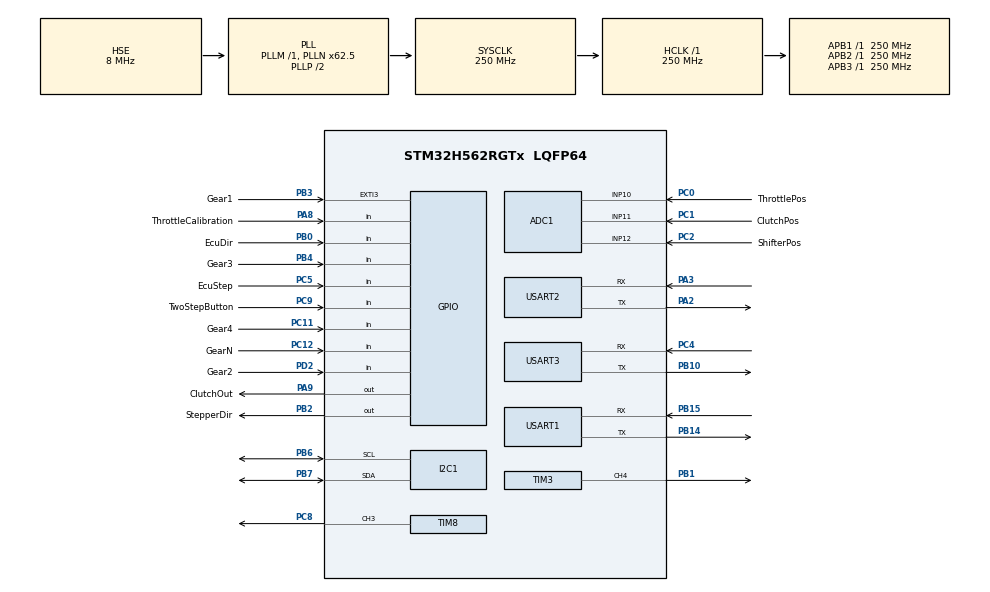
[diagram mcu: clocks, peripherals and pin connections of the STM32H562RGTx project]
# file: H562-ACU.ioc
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ADC1.Channel-1\#ChannelRegularConversion=ADC_CHANNEL_10
ADC1.Channel-2\#ChannelRegularConversion=ADC_CHANNEL_11
ADC1.Channel-3\#ChannelRegularConversion=ADC_CHANNEL_12
ADC1.ContinuousConvMode=DISABLE
ADC1.DMAContinuousRequests=DISABLE
ADC1.DiscontinuousConvMode=ENABLE
ADC1.EOCSelection=ADC_EOC_SINGLE_CONV
ADC1.ExternalTrigConv=ADC_EXTERNALTRIG_T4_TRGO
ADC1.MonitoredBy-1\#ChannelRegularConversion=__NULL
ADC1.MonitoredBy-2\#ChannelRegularConversion=__NULL
ADC1.MonitoredBy-3\#ChannelRegularConversion=__NULL
ADC1.NbrOfConversion=3
ADC1.NbrOfConversionFlag=1
ADC1.NbrOfDiscConversion=3
ADC1.OffsetNumber-1\#ChannelRegularConversion=ADC_OFFSET_NONE
ADC1.OffsetNumber-2\#ChannelRegularConversion=ADC_OFFSET_NONE
ADC1.OffsetNumber-3\#ChannelRegularConversion=ADC_OFFSET_NONE
ADC1.Overrun=ADC_OVR_DATA_PRESERVED
ADC1.Rank-1\#ChannelRegularConversion=1
ADC1.Rank-2\#ChannelRegularConversion=2
ADC1.Rank-3\#ChannelRegularConversion=3
ADC1.SamplingTime-1\#ChannelRegularConversion=ADC_SAMPLETIME_640CYCLES_5
ADC1.SamplingTime-2\#ChannelRegularConversion=ADC_SAMPLETIME_640CYCLES_5
ADC1.SamplingTime-3\#ChannelRegularConversion=ADC_SAMPLETIME_640CYCLES_5
ADC1.master=1
BOOTPATH.BootPathName=LEGACY
BOOTPATH.UserSelectedBootPath=LEGACY
CORTEX_M33_NS.AllocateAttribute0=MPU_NO_ALLOCATE
CORTEX_M33_NS.Attributes0=MPU_ATTRIBUTES_NUMBER0
CORTEX_M33_NS.Attributes1=MPU_ATTRIBUTES_NUMBER1
CORTEX_M33_NS.AttributesIndex-Cortex_Memory_Protection_Unit_RegionCortex_Memory_Protection_Unit_Region0_Settings_Settings=MPU_ATTRIBUTES_NUMBER1
CORTEX_M33_NS.AttributesIndex-Cortex_Memory_Protection_Unit_RegionCortex_Memory_Protection_Unit_Region1_Settings_Settings=MPU_ATTRIBUTES_NUMBER0
CORTEX_M33_NS.AttributesIndex-Cortex_Memory_Protection_Unit_RegionCortex_Memory_Protection_Unit_Region3_Settings_Settings=MPU_ATTRIBUTES_NUMBER0
CORTEX_M33_NS.CacheableAttribute-Cortex_Memory_Protection_Unit_Region0_Settings=MPU_NOT_CACHEABLE
CORTEX_M33_NS.CacheableAttribute0=MPU_WRITE_THROUGH
CORTEX_M33_NS.Enable-Cortex_Memory_Protection_Unit_Region0_Settings=MPU_REGION_ENABLE
CORTEX_M33_NS.Enable-Cortex_Memory_Protection_Unit_Region1_Settings=__NULL
CORTEX_M33_NS.Enable-Cortex_Memory_Protection_Unit_Region3_Settings=__NULL
CORTEX_M33_NS.MPU_Control=__NULL
CORTEX_M33_NS.Memorytype0=MPU_CACHEABLE
CORTEX_M33_NS.Memorytype1=MPU_NOT_CACHEABLE
CORTEX_M33_NS.TransientAttribute0=MPU_TRANSIENT
CORTEX_M33_NS.userName=CORTEX_M33
GPDMA1.CIRCULARMODE_GPDMACH2=DISABLE
GPDMA1.DESTDATAWIDTH_GPDMACH2=DMA_DEST_DATAWIDTH_HALFWORD
GPDMA1.DESTINC_GPDMACH0=DMA_DINC_INCREMENTED
GPDMA1.DESTINC_GPDMACH2=DMA_DINC_INCREMENTED
GPDMA1.DESTINC_GPDMACH3=DMA_DINC_INCREMENTED
GPDMA1.DESTINC_GPDMACH4=DMA_DINC_INCREMENTED
GPDMA1.DIRECTION_GPDMACH1=DMA_MEMORY_TO_PERIPH
GPDMA1.DIRECTION_GPDMACH5=DMA_MEMORY_TO_PERIPH
GPDMA1.IPHANDLE_GPDMACH0-SIMPLEREQUEST_GPDMACH0=__NULL
GPDMA1.IPHANDLE_GPDMACH1-SIMPLEREQUEST_GPDMACH1=__NULL
GPDMA1.IPHANDLE_GPDMACH2-SIMPLEREQUEST_GPDMACH2=__NULL
GPDMA1.IPHANDLE_GPDMACH3-SIMPLEREQUEST_GPDMACH3=__NULL
GPDMA1.IPHANDLE_GPDMACH4-SIMPLEREQUEST_GPDMACH4=__NULL
GPDMA1.IPHANDLE_GPDMACH5-SIMPLEREQUEST_GPDMACH5=__NULL
GPDMA1.LINKALLOCATEDPORT_CIRCULAR_GPDMACH2=DMA_LINK_ALLOCATED_PORT1
GPDMA1.RECAP_GPDMACH0=DMA_REQUEST_USART1_RX
GPDMA1.RECAP_GPDMACH1=DMA_REQUEST_USART1_TX
GPDMA1.RECAP_GPDMACH2=DMA_REQUEST_ADC1
GPDMA1.REQUEST_GPDMACH0=GPDMA1_REQUEST_USART1_RX
GPDMA1.REQUEST_GPDMACH1=GPDMA1_REQUEST_USART1_TX
GPDMA1.REQUEST_GPDMACH2=GPDMA1_REQUEST_ADC1
GPDMA1.REQUEST_GPDMACH3=GPDMA1_REQUEST_USART3_RX
GPDMA1.REQUEST_GPDMACH4=GPDMA1_REQUEST_USART2_RX
GPDMA1.REQUEST_GPDMACH5=GPDMA1_REQUEST_USART2_TX
GPDMA1.SRCDATAWIDTH_GPDMACH2=DMA_SRC_DATAWIDTH_HALFWORD
GPDMA1.SRCINC_GPDMACH1=DMA_SINC_INCREMENTED
GPDMA1.SRCINC_GPDMACH5=DMA_SINC_INCREMENTED
GPDMA1.TRANSFERALLOCATEDPORTDEST_GPDMACH0=DMA_DEST_ALLOCATED_PORT1
GPDMA1.TRANSFERALLOCATEDPORTDEST_GPDMACH2=DMA_DEST_ALLOCATED_PORT1
GPDMA1.TRANSFERALLOCATEDPORTDEST_GPDMACH3=DMA_DEST_ALLOCATED_PORT1
GPDMA1.TRANSFERALLOCATEDPORTDEST_GPDMACH4=DMA_DEST_ALLOCATED_PORT1
GPDMA1.TRANSFERALLOCATEDPORTSRC_GPDMACH1=DMA_SRC_ALLOCATED_PORT1
GPDMA1.TRANSFERALLOCATEDPORTSRC_GPDMACH5=DMA_SRC_ALLOCATED_PORT1
GPDMA1.TRIGGERPOLARITY_GPDMACH2=DMA_TRIG_POLARITY_MASKED
GPDMA2.DESTDATAWIDTH_GPDMACH1=DMA_DEST_DATAWIDTH_HALFWORD
GPDMA2.DIRECTION_GPDMACH0=DMA_MEMORY_TO_PERIPH
GPDMA2.DIRECTION_GPDMACH1=DMA_MEMORY_TO_PERIPH
GPDMA2.IPHANDLE_GPDMACH0-SIMPLEREQUEST_GPDMACH0=__NULL
GPDMA2.IPHANDLE_GPDMACH1-SIMPLEREQUEST_GPDMACH1=__NULL
GPDMA2.REQUEST_GPDMACH0=GPDMA2_REQUEST_TIM3_CH4
GPDMA2.REQUEST_GPDMACH1=GPDMA2_REQUEST_TIM8_CH3
GPDMA2.SRCDATAWIDTH_GPDMACH0=DMA_SRC_DATAWIDTH_BYTE
GPDMA2.SRCDATAWIDTH_GPDMACH1=DMA_SRC_DATAWIDTH_HALFWORD
GPDMA2.SRCINC_GPDMACH0=DMA_SINC_INCREMENTED
GPDMA2.SRCINC_GPDMACH1=DMA_SINC_INCREMENTED
GPDMA2.TRANSFERALLOCATEDPORTSRC_GPDMACH0=DMA_SRC_ALLOCATED_PORT1
GPDMA2.TRANSFERALLOCATEDPORTSRC_GPDMACH1=DMA_SRC_ALLOCATED_PORT1
I2C1.Timing=0x60808CD3
Mcu.Family=STM32H5
Mcu.Name=STM32H562RGTx
Mcu.Package=LQFP64
NVIC.ADC1_IRQn=true\:0\:0\:false\:false\:true\:false\:true\:true\:true
NVIC.GPDMA1_Channel0_IRQn=true\:0\:0\:false\:false\:true\:false\:false\:true\:true
NVIC.GPDMA1_Channel1_IRQn=true\:0\:0\:false\:false\:true\:true\:false\:true\:true
NVIC.GPDMA1_Channel2_IRQn=true\:0\:0\:false\:false\:true\:true\:false\:true\:true
NVIC.GPDMA1_Channel3_IRQn=true\:0\:0\:false\:false\:true\:true\:false\:true\:true
NVIC.GPDMA1_Channel4_IRQn=true\:0\:0\:false\:false\:true\:true\:false\:true\:true
NVIC.GPDMA1_Channel5_IRQn=true\:0\:0\:false\:false\:true\:true\:false\:true\:true
NVIC.GPDMA2_Channel0_IRQn=true\:0\:0\:false\:false\:true\:true\:false\:true\:true
NVIC.GPDMA2_Channel1_IRQn=true\:0\:0\:false\:false\:true\:true\:false\:true\:true
NVIC.PriorityGroup=NVIC_PRIORITYGROUP_4
NVIC.TIM4_IRQn=true\:0\:0\:false\:false\:true\:false\:true\:true\:true
NVIC.TIM6_IRQn=true\:15\:0\:false\:false\:true\:false\:false\:true\:true
NVIC.TimeBase=TIM6_IRQn
NVIC.TimeBaseIP=TIM6
NVIC.USART1_IRQn=true\:0\:0\:false\:false\:true\:false\:true\:true\:true
NVIC.USART2_IRQn=true\:0\:0\:false\:false\:true\:false\:true\:true\:true
NVIC.USART3_IRQn=true\:0\:0\:false\:false\:true\:false\:true\:true\:true
PA13(JTMS/SWDIO).Mode=Serial_Wire
PA13(JTMS/SWDIO).Signal=DEBUG_JTMS-SWDIO
PA14(JTCK/SWCLK).Mode=Serial_Wire
PA14(JTCK/SWCLK).Signal=DEBUG_JTCK-SWCLK
PA2.Mode=Asynchronous
PA2.Signal=USART2_TX
PA3.Mode=Asynchronous
PA3.Signal=USART2_RX
PA8.GPIO_Label=ThrottleCalibration
PA8.Signal=GPIO_Input
PA9.GPIO_Label=ClutchOut
PA9.Signal=GPIO_Output
PB0.GPIO_Label=EcuDir
PB0.Signal=GPIO_Input
PB1.Signal=S_TIM3_CH4
PB10.Mode=Asynchronous
PB10.Signal=USART3_TX
PB14.Mode=Asynchronous
PB14.Signal=USART1_TX
PB15.Mode=Asynchronous
PB15.Signal=USART1_RX
PB2.GPIO_Label=StepperDir
PB2.Signal=GPIO_Output
PB3(JTDO/TRACESWO).GPIO_Label=Gear1
PB3(JTDO/TRACESWO).Signal=GPXTI3
PB4(NJTRST).GPIO_Label=Gear3
PB4(NJTRST).Signal=GPIO_Input
PB6.Mode=I2C
PB6.Signal=I2C1_SCL
PB7.Mode=I2C
PB7.Signal=I2C1_SDA
PC0.GPIO_Label=ThrottlePos
PC0.Signal=ADCx_INP10
PC1.GPIO_Label=ClutchPos
PC1.Signal=ADCx_INP11
PC11.GPIO_Label=Gear4
PC11.Signal=GPIO_Input
PC12.GPIO_Label=GearN
PC12.Signal=GPIO_Input
PC2.GPIO_Label=ShifterPos
PC2.Signal=ADCx_INP12
PC4.Mode=Asynchronous
PC4.Signal=USART3_RX
PC5.GPIO_Label=EcuStep
PC5.Signal=GPIO_Input
PC8.Signal=S_TIM8_CH3
PC9.GPIO_Label=TwoStepButton
PC9.Signal=GPIO_Input
PD2.GPIO_Label=Gear2
PD2.Signal=GPIO_Input
PH0-OSC_IN(PH0).Mode=HSE-External-Oscillator
PH0-OSC_IN(PH0).Signal=RCC_OSC_IN
PH1-OSC_OUT(PH1).Mode=HSE-External-Oscillator
PH1-OSC_OUT(PH1).Signal=RCC_OSC_OUT
ProjectManager.HeapSize=0x200
ProjectManager.StackSize=0x400
ProjectManager.TargetToolchain=STM32CubeIDE
RCC.ADCCLockSelection=RCC_ADCDACCLKSOURCE_PLL2R
RCC.ADCFreq_Value=100000000
RCC.AHBFreq_Value=250000000
RCC.APB1Freq_Value=250000000
RCC.APB1TimFreq_Value=250000000
RCC.APB2Freq_Value=250000000
RCC.APB2TimFreq_Value=250000000
RCC.APB3Freq_Value=250000000
RCC.CSI_VALUE=4000000
RCC.CortexFreq_Value=250000000
RCC.EPOD_VALUE=8000000
RCC.FLatency-AdvancedSettings=FLASH_LATENCY_5
RCC.Flash_Delay-AdvancedSettings=FLASH_PROGRAMMING_DELAY_0
RCC.HCLKFreq_Value=250000000
RCC.HSE_VALUE=8000000
RCC.HSI48_VALUE=48000000
RCC.HSI_VALUE=64000000
RCC.LSE_VALUE=32768
RCC.LSIRC_VALUE=32000
RCC.PLL2FRACN=0
RCC.PLL2N=25
RCC.PLL2Source=RCC_PLL2_SOURCE_HSE
RCC.PLL2_VCI_Range-AdvancedSettings=RCC_PLL2_VCIRANGE_2
RCC.PLL3FRACN=0
RCC.PLL3N=118
RCC.PLL3Source=RCC_PLL3_SOURCE_HSE
RCC.PLLFRACN=4096
RCC.PLLN=62
RCC.PLLSourceVirtual=RCC_PLL1_SOURCE_HSE
RCC.SYSCLKFreq_VALUE=250000000
RCC.SYSCLKSource=RCC_SYSCLKSOURCE_PLLCLK
RCC.USBFreq_Value=48000000
RCC.VCOOutputFreq_Value=500000000
SH.ADCx_INP10.0=ADC1_INP10,IN10-Single-Ended
SH.ADCx_INP11.0=ADC1_INP11,IN11-Single-Ended
SH.ADCx_INP12.0=ADC1_INP12,IN12-Single-Ended
SH.S_TIM3_CH4.0=TIM3_CH4,PWM Generation4 CH4
SH.S_TIM8_CH3.0=TIM8_CH3,PWM Generation3 CH3
THREADX.TX_APP_MEM_POOL_SIZE=1024*10
THREADX.TX_ENABLE_EVENT_TRACE=1
THREADX.TX_TIMER_TICKS_PER_SECOND=1000
TIM2.Prescaler=250-1
TIM3.AutoReloadPreload=TIM_AUTORELOAD_PRELOAD_DISABLE
TIM3.Channel-PWM\ Generation4\ CH4=TIM_CHANNEL_4
TIM3.PeriodNoDither=65535
TIM4.AutoReloadPreload=TIM_AUTORELOAD_PRELOAD_DISABLE
TIM4.Channel-PWM\ Generation1\ No\ Output=TIM_CHANNEL_1
TIM4.PeriodNoDither=10-1
TIM4.Prescaler=25000-1
TIM4.TIM_MasterOutputTrigger=TIM_TRGO_UPDATE
TIM8.AutoReloadPreload=TIM_AUTORELOAD_PRELOAD_ENABLE
TIM8.Channel-PWM\ Generation3\ CH3=TIM_CHANNEL_3
TIM8.PeriodNoDither=312 - 1
USART1.VirtualMode-Asynchronous=VM_ASYNC
USART2.VirtualMode-Asynchronous=VM_ASYNC
USART3.VirtualMode-Asynchronous=VM_ASYNC
VP_BOOTPATH_VS_BOOTPATH.Mode=BP_Activate
VP_CORTEX_M33_NS_VS_Hclk.Mode=Hclk_Mode
VP_GPDMA1_VS_GPDMACH0.Mode=SIMPLEREQUEST_GPDMACH0
VP_GPDMA1_VS_GPDMACH1.Mode=SIMPLEREQUEST_GPDMACH1
VP_GPDMA1_VS_GPDMACH2.Mode=SIMPLEREQUEST_GPDMACH2
VP_GPDMA1_VS_GPDMACH3.Mode=SIMPLEREQUEST_GPDMACH3
VP_GPDMA1_VS_GPDMACH4.Mode=SIMPLEREQUEST_GPDMACH4
VP_GPDMA1_VS_GPDMACH5.Mode=SIMPLEREQUEST_GPDMACH5
VP_GPDMA2_VS_GPDMACH0.Mode=SIMPLEREQUEST_GPDMACH0
VP_GPDMA2_VS_GPDMACH1.Mode=SIMPLEREQUEST_GPDMACH1
VP_ICACHE_VS_ICACHE.Mode=DirectMappedCache
VP_MEMORYMAP_VS_MEMORYMAP.Mode=CurAppReg
VP_PWR_VS_DBSignals.Mode=DisableDeadBatterySignals
VP_PWR_VS_LPOM.Mode=PowerOptimisation
VP_PWR_VS_SECSignals.Mode=Security/Privilege
VP_SYS_VS_tim6.Mode=TIM6
VP_THREADX_VS_RTOSJjThreadXJjCoreJjDefault.Mode=Core_Default
VP_THREADX_VS_RTOSJjThreadXJjPerformance_InfoJjDefault.Mode=Performance_Default
VP_THREADX_VS_RTOSJjThreadXJjTraceX_SupportJjDefault.Mode=TraceX_Support_Default
VP_TIM12_VS_ClockSourceINT.Mode=Internal
VP_TIM2_VS_ClockSourceINT.Mode=Internal
VP_TIM4_VS_ClockSourceINT.Mode=Internal
VP_TIM4_VS_no_output1.Mode=PWM Generation1 No Output
board=custom

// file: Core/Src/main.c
/* USER CODE BEGIN Header */
/**
 ******************************************************************************
 * @file           : main.c
 * @brief          : Main program body
 ******************************************************************************
 * @attention
 *
 * Copyright (c) 2024 STMicroelectronics.
 * All rights reserved.
 *
 * This software is licensed under terms that can be found in the LICENSE file
 * in the root directory of this software component.
 * If no LICENSE file comes with this software, it is provided AS-IS.
 *
 ******************************************************************************
 */
/* USER CODE END Header */
#include "app_threadx.h"
#include "main.h"

/* USER CODE BEGIN Includes */
#include "stm32h5xx_hal_uart.h"
#include <stdio.h>

#include "NAU7802.h"
#include "ecu.h"
#include "error.h"
#include "quickShifter.h"
#include "software_timer.h"
#include "steeringLeds.h"

/* USER CODE END Includes */

ADC_HandleTypeDef hadc1;
DMA_HandleTypeDef handle_GPDMA1_Channel2;

I2C_HandleTypeDef hi2c1;

TIM_HandleTypeDef htim2;
TIM_HandleTypeDef htim3;
TIM_HandleTypeDef htim4;
TIM_HandleTypeDef htim8;
TIM_HandleTypeDef htim12;
DMA_HandleTypeDef handle_GPDMA2_Channel0;
DMA_HandleTypeDef handle_GPDMA2_Channel1;

UART_HandleTypeDef huart1;
UART_HandleTypeDef huart2;
UART_HandleTypeDef huart3;
DMA_HandleTypeDef handle_GPDMA1_Channel1;
DMA_HandleTypeDef handle_GPDMA1_Channel0;
DMA_HandleTypeDef handle_GPDMA1_Channel5;
DMA_HandleTypeDef handle_GPDMA1_Channel4;
DMA_HandleTypeDef handle_GPDMA1_Channel3;

/* USER CODE BEGIN PV */

// handle_GPDMA1_Channel0 USART1_RX
// handle_GPDMA1_Channel1 USART1_TX
// handle_GPDMA1_Channel2 ADC1

/* USER CODE END PV */

void SystemClock_Config(void);
static void MX_GPIO_Init(void);
static void MX_GPDMA1_Init(void);
static void MX_GPDMA2_Init(void);
static void MX_ICACHE_Init(void);
static void MX_I2C1_Init(void);
static void MX_USART1_UART_Init(void);
static void MX_USART2_UART_Init(void);
static void MX_USART3_UART_Init(void);
static void MX_ADC1_Init(void);
static void MX_TIM3_Init(void);
static void MX_TIM8_Init(void);
static void MX_TIM12_Init(void);
static void MX_TIM4_Init(void);
static void MX_TIM2_Init(void);

/* USER CODE BEGIN 0 */
uint8_t rx_buf_usart1[USART1_RX_BUF_LEN];
uint8_t tx_buf_usart1[USART1_TX_BUF_LEN] = {0x41, 0};

uint8_t ADC_NBR_CONVERSION;

uint16_t adc_buf[ADC_BUF_LEN];
uint8_t exec_time = 0;

HAL_StatusTypeDef returnval;

/* USER CODE END 0 */

int main(void)
{

  /* USER CODE BEGIN 1 */
  loadCell.pending_samples = 0;
  shifter.pending_samples = 0;

  /* USER CODE END 1 */

  /* MCU Configuration--------------------------------------------------------*/

  /* Reset of all peripherals, Initializes the Flash interface and the Systick. */
  HAL_Init();

  /* Configure the system clock */
  SystemClock_Config();

  /* Initialize all configured peripherals */
  MX_GPIO_Init();
  MX_GPDMA1_Init();
  MX_GPDMA2_Init();
  MX_ICACHE_Init();
  MX_I2C1_Init();
  MX_USART1_UART_Init();
  MX_USART2_UART_Init();
  MX_USART3_UART_Init();
  MX_ADC1_Init();
  MX_TIM3_Init();
  MX_TIM8_Init();
  MX_TIM12_Init();
  MX_TIM4_Init();
  MX_TIM2_Init();
  /* USER CODE BEGIN 2 */
  HAL_UARTEx_ReceiveToIdle_DMA(&huart1, rx_buf_usart1, USART1_RX_BUF_LEN);
  HAL_UART_Transmit_DMA(&huart1, tx_buf_usart1, USART1_TX_BUF_LEN);

  HAL_TIM_Base_Start(&htim2);

  /* USER CODE END 2 */

  MX_ThreadX_Init();

  /* We should never get here as control is now taken by the scheduler */

  /* Infinite loop */
  while (1) {

  }
}

void SystemClock_Config(void)
{
  RCC_OscInitTypeDef RCC_OscInitStruct = {0};
  RCC_ClkInitTypeDef RCC_ClkInitStruct = {0};

  /** Configure the main internal regulator output voltage
  */
  __HAL_PWR_VOLTAGESCALING_CONFIG(PWR_REGULATOR_VOLTAGE_SCALE0);

  while(!__HAL_PWR_GET_FLAG(PWR_FLAG_VOSRDY)) {}

  /** Initializes the RCC Oscillators according to the specified parameters
  * in the RCC_OscInitTypeDef structure.
  */
  RCC_OscInitStruct.OscillatorType = RCC_OSCILLATORTYPE_HSE;
  RCC_OscInitStruct.HSEState = RCC_HSE_ON;
  RCC_OscInitStruct.PLL.PLLState = RCC_PLL_ON;
  RCC_OscInitStruct.PLL.PLLSource = RCC_PLL1_SOURCE_HSE;
  RCC_OscInitStruct.PLL.PLLM = 1;
  RCC_OscInitStruct.PLL.PLLN = 62;
  RCC_OscInitStruct.PLL.PLLP = 2;
  RCC_OscInitStruct.PLL.PLLQ = 2;
  RCC_OscInitStruct.PLL.PLLR = 2;
  RCC_OscInitStruct.PLL.PLLRGE = RCC_PLL1_VCIRANGE_3;
  RCC_OscInitStruct.PLL.PLLVCOSEL = RCC_PLL1_VCORANGE_WIDE;
  RCC_OscInitStruct.PLL.PLLFRACN = 4096;
  if (HAL_RCC_OscConfig(&RCC_OscInitStruct) != HAL_OK)
  {
    Error_Handler();
  }

  /** Initializes the CPU, AHB and APB buses clocks
  */
  RCC_ClkInitStruct.ClockType = RCC_CLOCKTYPE_HCLK|RCC_CLOCKTYPE_SYSCLK
                              |RCC_CLOCKTYPE_PCLK1|RCC_CLOCKTYPE_PCLK2
                              |RCC_CLOCKTYPE_PCLK3;
  RCC_ClkInitStruct.SYSCLKSource = RCC_SYSCLKSOURCE_PLLCLK;
  RCC_ClkInitStruct.AHBCLKDivider = RCC_SYSCLK_DIV1;
  RCC_ClkInitStruct.APB1CLKDivider = RCC_HCLK_DIV1;
  RCC_ClkInitStruct.APB2CLKDivider = RCC_HCLK_DIV1;
  RCC_ClkInitStruct.APB3CLKDivider = RCC_HCLK_DIV1;

  if (HAL_RCC_ClockConfig(&RCC_ClkInitStruct, FLASH_LATENCY_5) != HAL_OK)
  {
    Error_Handler();
  }

  /** Configure the programming delay
  */
  __HAL_FLASH_SET_PROGRAM_DELAY(FLASH_PROGRAMMING_DELAY_2);
}

static void MX_ADC1_Init(void)
{

  ADC_ChannelConfTypeDef sConfig = {0};

  /** Common config
  */
  hadc1.Instance = ADC1;
  hadc1.Init.ClockPrescaler = ADC_CLOCK_ASYNC_DIV2;
  hadc1.Init.Resolution = ADC_RESOLUTION_12B;
  hadc1.Init.DataAlign = ADC_DATAALIGN_RIGHT;
  hadc1.Init.ScanConvMode = ADC_SCAN_ENABLE;
  hadc1.Init.EOCSelection = ADC_EOC_SINGLE_CONV;
  hadc1.Init.LowPowerAutoWait = DISABLE;
  hadc1.Init.ContinuousConvMode = DISABLE;
  hadc1.Init.NbrOfConversion = 3;
  hadc1.Init.DiscontinuousConvMode = ENABLE;
  hadc1.Init.NbrOfDiscConversion = 3;
  hadc1.Init.ExternalTrigConv = ADC_EXTERNALTRIG_T4_TRGO;
  hadc1.Init.ExternalTrigConvEdge = ADC_EXTERNALTRIGCONVEDGE_RISING;
  hadc1.Init.DMAContinuousRequests = DISABLE;
  hadc1.Init.SamplingMode = ADC_SAMPLING_MODE_NORMAL;
  hadc1.Init.Overrun = ADC_OVR_DATA_PRESERVED;
  hadc1.Init.OversamplingMode = DISABLE;
  if (HAL_ADC_Init(&hadc1) != HAL_OK)
  {
    Error_Handler();
  }

  /** Configure Regular Channel
  */
  sConfig.Channel = ADC_CHANNEL_10;
  sConfig.Rank = ADC_REGULAR_RANK_1;
  sConfig.SamplingTime = ADC_SAMPLETIME_640CYCLES_5;
  sConfig.SingleDiff = ADC_SINGLE_ENDED;
  sConfig.OffsetNumber = ADC_OFFSET_NONE;
  sConfig.Offset = 0;
  if (HAL_ADC_ConfigChannel(&hadc1, &sConfig) != HAL_OK)
  {
    Error_Handler();
  }

  /** Configure Regular Channel
  */
  sConfig.Channel = ADC_CHANNEL_11;
  sConfig.Rank = ADC_REGULAR_RANK_2;
  if (HAL_ADC_ConfigChannel(&hadc1, &sConfig) != HAL_OK)
  {
    Error_Handler();
  }

  /** Configure Regular Channel
  */
  sConfig.Channel = ADC_CHANNEL_12;
  sConfig.Rank = ADC_REGULAR_RANK_3;
  if (HAL_ADC_ConfigChannel(&hadc1, &sConfig) != HAL_OK)
  {
    Error_Handler();
  }
  /* USER CODE BEGIN ADC1_Init 2 */
  ADC_NBR_CONVERSION = hadc1.Init.NbrOfConversion;
  /* USER CODE END ADC1_Init 2 */

}

static void MX_GPDMA1_Init(void)
{

  /* Peripheral clock enable */
  __HAL_RCC_GPDMA1_CLK_ENABLE();

  /* GPDMA1 interrupt Init */
    HAL_NVIC_SetPriority(GPDMA1_Channel0_IRQn, 0, 0);
    HAL_NVIC_EnableIRQ(GPDMA1_Channel0_IRQn);
    HAL_NVIC_SetPriority(GPDMA1_Channel1_IRQn, 0, 0);
    HAL_NVIC_EnableIRQ(GPDMA1_Channel1_IRQn);
    HAL_NVIC_SetPriority(GPDMA1_Channel2_IRQn, 0, 0);
    HAL_NVIC_EnableIRQ(GPDMA1_Channel2_IRQn);
    HAL_NVIC_SetPriority(GPDMA1_Channel3_IRQn, 0, 0);
    HAL_NVIC_EnableIRQ(GPDMA1_Channel3_IRQn);
    HAL_NVIC_SetPriority(GPDMA1_Channel4_IRQn, 0, 0);
    HAL_NVIC_EnableIRQ(GPDMA1_Channel4_IRQn);
    HAL_NVIC_SetPriority(GPDMA1_Channel5_IRQn, 0, 0);
    HAL_NVIC_EnableIRQ(GPDMA1_Channel5_IRQn);

}

static void MX_GPDMA2_Init(void)
{

  /* Peripheral clock enable */
  __HAL_RCC_GPDMA2_CLK_ENABLE();

  /* GPDMA2 interrupt Init */
    HAL_NVIC_SetPriority(GPDMA2_Channel0_IRQn, 0, 0);
    HAL_NVIC_EnableIRQ(GPDMA2_Channel0_IRQn);
    HAL_NVIC_SetPriority(GPDMA2_Channel1_IRQn, 0, 0);
    HAL_NVIC_EnableIRQ(GPDMA2_Channel1_IRQn);

}

static void MX_I2C1_Init(void)
{

  hi2c1.Instance = I2C1;
  hi2c1.Init.Timing = 0x60808CD3;
  hi2c1.Init.OwnAddress1 = 0;
  hi2c1.Init.AddressingMode = I2C_ADDRESSINGMODE_7BIT;
  hi2c1.Init.DualAddressMode = I2C_DUALADDRESS_DISABLE;
  hi2c1.Init.OwnAddress2 = 0;
  hi2c1.Init.OwnAddress2Masks = I2C_OA2_NOMASK;
  hi2c1.Init.GeneralCallMode = I2C_GENERALCALL_DISABLE;
  hi2c1.Init.NoStretchMode = I2C_NOSTRETCH_DISABLE;
  if (HAL_I2C_Init(&hi2c1) != HAL_OK)
  {
    Error_Handler();
  }

  /** Configure Analogue filter
  */
  if (HAL_I2CEx_ConfigAnalogFilter(&hi2c1, I2C_ANALOGFILTER_ENABLE) != HAL_OK)
  {
    Error_Handler();
  }

  /** Configure Digital filter
  */
  if (HAL_I2CEx_ConfigDigitalFilter(&hi2c1, 0) != HAL_OK)
  {
    Error_Handler();
  }

}

static void MX_ICACHE_Init(void)
{

  /** Enable instruction cache in 1-way (direct mapped cache)
  */
  if (HAL_ICACHE_ConfigAssociativityMode(ICACHE_1WAY) != HAL_OK)
  {
    Error_Handler();
  }
  if (HAL_ICACHE_Enable() != HAL_OK)
  {
    Error_Handler();
  }

}

static void MX_TIM2_Init(void)
{

  TIM_ClockConfigTypeDef sClockSourceConfig = {0};
  TIM_MasterConfigTypeDef sMasterConfig = {0};

  htim2.Instance = TIM2;
  htim2.Init.Prescaler = 250-1;
  htim2.Init.CounterMode = TIM_COUNTERMODE_UP;
  htim2.Init.Period = 4294967295;
  htim2.Init.ClockDivision = TIM_CLOCKDIVISION_DIV1;
  htim2.Init.AutoReloadPreload = TIM_AUTORELOAD_PRELOAD_DISABLE;
  if (HAL_TIM_Base_Init(&htim2) != HAL_OK)
  {
    Error_Handler();
  }
  sClockSourceConfig.ClockSource = TIM_CLOCKSOURCE_INTERNAL;
  if (HAL_TIM_ConfigClockSource(&htim2, &sClockSourceConfig) != HAL_OK)
  {
    Error_Handler();
  }
  sMasterConfig.MasterOutputTrigger = TIM_TRGO_RESET;
  sMasterConfig.MasterSlaveMode = TIM_MASTERSLAVEMODE_DISABLE;
  if (HAL_TIMEx_MasterConfigSynchronization(&htim2, &sMasterConfig) != HAL_OK)
  {
    Error_Handler();
  }

}

static void MX_TIM3_Init(void)
{

  TIM_MasterConfigTypeDef sMasterConfig = {0};
  TIM_OC_InitTypeDef sConfigOC = {0};

  htim3.Instance = TIM3;
  htim3.Init.Prescaler = 0;
  htim3.Init.CounterMode = TIM_COUNTERMODE_UP;
  htim3.Init.Period = 65535;
  htim3.Init.ClockDivision = TIM_CLOCKDIVISION_DIV1;
  htim3.Init.AutoReloadPreload = TIM_AUTORELOAD_PRELOAD_DISABLE;
  if (HAL_TIM_PWM_Init(&htim3) != HAL_OK)
  {
    Error_Handler();
  }
  sMasterConfig.MasterOutputTrigger = TIM_TRGO_RESET;
  sMasterConfig.MasterSlaveMode = TIM_MASTERSLAVEMODE_DISABLE;
  if (HAL_TIMEx_MasterConfigSynchronization(&htim3, &sMasterConfig) != HAL_OK)
  {
    Error_Handler();
  }
  sConfigOC.OCMode = TIM_OCMODE_PWM1;
  sConfigOC.Pulse = 0;
  sConfigOC.OCPolarity = TIM_OCPOLARITY_HIGH;
  sConfigOC.OCFastMode = TIM_OCFAST_DISABLE;
  if (HAL_TIM_PWM_ConfigChannel(&htim3, &sConfigOC, TIM_CHANNEL_4) != HAL_OK)
  {
    Error_Handler();
  }
  HAL_TIM_MspPostInit(&htim3);

}

static void MX_TIM4_Init(void)
{

  TIM_ClockConfigTypeDef sClockSourceConfig = {0};
  TIM_MasterConfigTypeDef sMasterConfig = {0};
  TIM_OC_InitTypeDef sConfigOC = {0};

  htim4.Instance = TIM4;
  htim4.Init.Prescaler = 25000-1;
  htim4.Init.CounterMode = TIM_COUNTERMODE_UP;
  htim4.Init.Period = 9;
  htim4.Init.ClockDivision = TIM_CLOCKDIVISION_DIV1;
  htim4.Init.AutoReloadPreload = TIM_AUTORELOAD_PRELOAD_DISABLE;
  if (HAL_TIM_Base_Init(&htim4) != HAL_OK)
  {
    Error_Handler();
  }
  sClockSourceConfig.ClockSource = TIM_CLOCKSOURCE_INTERNAL;
  if (HAL_TIM_ConfigClockSource(&htim4, &sClockSourceConfig) != HAL_OK)
  {
    Error_Handler();
  }
  if (HAL_TIM_PWM_Init(&htim4) != HAL_OK)
  {
    Error_Handler();
  }
  sMasterConfig.MasterOutputTrigger = TIM_TRGO_UPDATE;
  sMasterConfig.MasterSlaveMode = TIM_MASTERSLAVEMODE_DISABLE;
  if (HAL_TIMEx_MasterConfigSynchronization(&htim4, &sMasterConfig) != HAL_OK)
  {
    Error_Handler();
  }
  sConfigOC.OCMode = TIM_OCMODE_PWM1;
  sConfigOC.Pulse = 0;
  sConfigOC.OCPolarity = TIM_OCPOLARITY_HIGH;
  sConfigOC.OCFastMode = TIM_OCFAST_DISABLE;
  if (HAL_TIM_PWM_ConfigChannel(&htim4, &sConfigOC, TIM_CHANNEL_1) != HAL_OK)
  {
    Error_Handler();
  }

}

static void MX_TIM8_Init(void)
{

  TIM_MasterConfigTypeDef sMasterConfig = {0};
  TIM_OC_InitTypeDef sConfigOC = {0};
  TIM_BreakDeadTimeConfigTypeDef sBreakDeadTimeConfig = {0};

  htim8.Instance = TIM8;
  htim8.Init.Prescaler = 0;
  htim8.Init.CounterMode = TIM_COUNTERMODE_UP;
  htim8.Init.Period = 311;
  htim8.Init.ClockDivision = TIM_CLOCKDIVISION_DIV1;
  htim8.Init.RepetitionCounter = 0;
  htim8.Init.AutoReloadPreload = TIM_AUTORELOAD_PRELOAD_ENABLE;
  if (HAL_TIM_PWM_Init(&htim8) != HAL_OK)
  {
    Error_Handler();
  }
  sMasterConfig.MasterOutputTrigger = TIM_TRGO_RESET;
  sMasterConfig.MasterOutputTrigger2 = TIM_TRGO2_RESET;
  sMasterConfig.MasterSlaveMode = TIM_MASTERSLAVEMODE_DISABLE;
  if (HAL_TIMEx_MasterConfigSynchronization(&htim8, &sMasterConfig) != HAL_OK)
  {
    Error_Handler();
  }
  sConfigOC.OCMode = TIM_OCMODE_PWM1;
  sConfigOC.Pulse = 0;
  sConfigOC.OCPolarity = TIM_OCPOLARITY_HIGH;
  sConfigOC.OCNPolarity = TIM_OCNPOLARITY_HIGH;
  sConfigOC.OCFastMode = TIM_OCFAST_DISABLE;
  sConfigOC.OCIdleState = TIM_OCIDLESTATE_RESET;
  sConfigOC.OCNIdleState = TIM_OCNIDLESTATE_RESET;
  if (HAL_TIM_PWM_ConfigChannel(&htim8, &sConfigOC, TIM_CHANNEL_3) != HAL_OK)
  {
    Error_Handler();
  }
  sBreakDeadTimeConfig.OffStateRunMode = TIM_OSSR_DISABLE;
  sBreakDeadTimeConfig.OffStateIDLEMode = TIM_OSSI_DISABLE;
  sBreakDeadTimeConfig.LockLevel = TIM_LOCKLEVEL_OFF;
  sBreakDeadTimeConfig.DeadTime = 0;
  sBreakDeadTimeConfig.BreakState = TIM_BREAK_DISABLE;
  sBreakDeadTimeConfig.BreakPolarity = TIM_BREAKPOLARITY_HIGH;
  sBreakDeadTimeConfig.BreakFilter = 0;
  sBreakDeadTimeConfig.BreakAFMode = TIM_BREAK_AFMODE_INPUT;
  sBreakDeadTimeConfig.Break2State = TIM_BREAK2_DISABLE;
  sBreakDeadTimeConfig.Break2Polarity = TIM_BREAK2POLARITY_HIGH;
  sBreakDeadTimeConfig.Break2Filter = 0;
  sBreakDeadTimeConfig.Break2AFMode = TIM_BREAK_AFMODE_INPUT;
  sBreakDeadTimeConfig.AutomaticOutput = TIM_AUTOMATICOUTPUT_DISABLE;
  if (HAL_TIMEx_ConfigBreakDeadTime(&htim8, &sBreakDeadTimeConfig) != HAL_OK)
  {
    Error_Handler();
  }
  HAL_TIM_MspPostInit(&htim8);

}

static void MX_TIM12_Init(void)
{

  TIM_ClockConfigTypeDef sClockSourceConfig = {0};

  htim12.Instance = TIM12;
  htim12.Init.Prescaler = 0;
  htim12.Init.CounterMode = TIM_COUNTERMODE_UP;
  htim12.Init.Period = 65535;
  htim12.Init.ClockDivision = TIM_CLOCKDIVISION_DIV1;
  htim12.Init.AutoReloadPreload = TIM_AUTORELOAD_PRELOAD_DISABLE;
  if (HAL_TIM_Base_Init(&htim12) != HAL_OK)
  {
    Error_Handler();
  }
  sClockSourceConfig.ClockSource = TIM_CLOCKSOURCE_INTERNAL;
  if (HAL_TIM_ConfigClockSource(&htim12, &sClockSourceConfig) != HAL_OK)
  {
    Error_Handler();
  }

}

static void MX_USART1_UART_Init(void)
{

  huart1.Instance = USART1;
  huart1.Init.BaudRate = 115200;
  huart1.Init.WordLength = UART_WORDLENGTH_8B;
  huart1.Init.StopBits = UART_STOPBITS_1;
  huart1.Init.Parity = UART_PARITY_NONE;
  huart1.Init.Mode = UART_MODE_TX_RX;
  huart1.Init.HwFlowCtl = UART_HWCONTROL_NONE;
  huart1.Init.OverSampling = UART_OVERSAMPLING_16;
  huart1.Init.OneBitSampling = UART_ONE_BIT_SAMPLE_DISABLE;
  huart1.Init.ClockPrescaler = UART_PRESCALER_DIV1;
  huart1.AdvancedInit.AdvFeatureInit = UART_ADVFEATURE_NO_INIT;
  if (HAL_UART_Init(&huart1) != HAL_OK)
  {
    Error_Handler();
  }
  if (HAL_UARTEx_SetTxFifoThreshold(&huart1, UART_TXFIFO_THRESHOLD_1_8) != HAL_OK)
  {
    Error_Handler();
  }
  if (HAL_UARTEx_SetRxFifoThreshold(&huart1, UART_RXFIFO_THRESHOLD_1_8) != HAL_OK)
  {
    Error_Handler();
  }
  if (HAL_UARTEx_DisableFifoMode(&huart1) != HAL_OK)
  {
    Error_Handler();
  }

}

static void MX_USART2_UART_Init(void)
{

  huart2.Instance = USART2;
  huart2.Init.BaudRate = 115200;
  huart2.Init.WordLength = UART_WORDLENGTH_8B;
  huart2.Init.StopBits = UART_STOPBITS_1;
  huart2.Init.Parity = UART_PARITY_NONE;
  huart2.Init.Mode = UART_MODE_TX_RX;
  huart2.Init.HwFlowCtl = UART_HWCONTROL_NONE;
  huart2.Init.OverSampling = UART_OVERSAMPLING_16;
  huart2.Init.OneBitSampling = UART_ONE_BIT_SAMPLE_DISABLE;
  huart2.Init.ClockPrescaler = UART_PRESCALER_DIV1;
  huart2.AdvancedInit.AdvFeatureInit = UART_ADVFEATURE_NO_INIT;
  if (HAL_UART_Init(&huart2) != HAL_OK)
  {
    Error_Handler();
  }
  if (HAL_UARTEx_SetTxFifoThreshold(&huart2, UART_TXFIFO_THRESHOLD_1_8) != HAL_OK)
  {
    Error_Handler();
  }
  if (HAL_UARTEx_SetRxFifoThreshold(&huart2, UART_RXFIFO_THRESHOLD_1_8) != HAL_OK)
  {
    Error_Handler();
  }
  if (HAL_UARTEx_DisableFifoMode(&huart2) != HAL_OK)
  {
    Error_Handler();
  }

}

static void MX_USART3_UART_Init(void)
{

  huart3.Instance = USART3;
  huart3.Init.BaudRate = 115200;
  huart3.Init.WordLength = UART_WORDLENGTH_8B;
  huart3.Init.StopBits = UART_STOPBITS_1;
  huart3.Init.Parity = UART_PARITY_NONE;
  huart3.Init.Mode = UART_MODE_TX_RX;
  huart3.Init.HwFlowCtl = UART_HWCONTROL_NONE;
  huart3.Init.OverSampling = UART_OVERSAMPLING_16;
  huart3.Init.OneBitSampling = UART_ONE_BIT_SAMPLE_DISABLE;
  huart3.Init.ClockPrescaler = UART_PRESCALER_DIV1;
  huart3.AdvancedInit.AdvFeatureInit = UART_ADVFEATURE_NO_INIT;
  if (HAL_UART_Init(&huart3) != HAL_OK)
  {
    Error_Handler();
  }
  if (HAL_UARTEx_SetTxFifoThreshold(&huart3, UART_TXFIFO_THRESHOLD_1_8) != HAL_OK)
  {
    Error_Handler();
  }
  if (HAL_UARTEx_SetRxFifoThreshold(&huart3, UART_RXFIFO_THRESHOLD_1_8) != HAL_OK)
  {
    Error_Handler();
  }
  if (HAL_UARTEx_DisableFifoMode(&huart3) != HAL_OK)
  {
    Error_Handler();
  }

}

static void MX_GPIO_Init(void)
{
  GPIO_InitTypeDef GPIO_InitStruct = {0};

  /* GPIO Ports Clock Enable */
  __HAL_RCC_GPIOH_CLK_ENABLE();
  __HAL_RCC_GPIOC_CLK_ENABLE();
  __HAL_RCC_GPIOA_CLK_ENABLE();
  __HAL_RCC_GPIOB_CLK_ENABLE();
  __HAL_RCC_GPIOD_CLK_ENABLE();

  /*Configure GPIO pin Output Level */
  HAL_GPIO_WritePin(StepperDir_GPIO_Port, StepperDir_Pin, GPIO_PIN_RESET);

  /*Configure GPIO pin Output Level */
  HAL_GPIO_WritePin(ClutchOut_GPIO_Port, ClutchOut_Pin, GPIO_PIN_RESET);

  /*Configure GPIO pins : EcuStep_Pin TwoStepButton_Pin Gear4_Pin GearN_Pin */
  GPIO_InitStruct.Pin = EcuStep_Pin|TwoStepButton_Pin|Gear4_Pin|GearN_Pin;
  GPIO_InitStruct.Mode = GPIO_MODE_INPUT;
  GPIO_InitStruct.Pull = GPIO_NOPULL;
  HAL_GPIO_Init(GPIOC, &GPIO_InitStruct);

  /*Configure GPIO pins : EcuDir_Pin Gear3_Pin */
  GPIO_InitStruct.Pin = EcuDir_Pin|Gear3_Pin;
  GPIO_InitStruct.Mode = GPIO_MODE_INPUT;
  GPIO_InitStruct.Pull = GPIO_NOPULL;
  HAL_GPIO_Init(GPIOB, &GPIO_InitStruct);

  /*Configure GPIO pin : StepperDir_Pin */
  GPIO_InitStruct.Pin = StepperDir_Pin;
  GPIO_InitStruct.Mode = GPIO_MODE_OUTPUT_PP;
  GPIO_InitStruct.Pull = GPIO_NOPULL;
  GPIO_InitStruct.Speed = GPIO_SPEED_FREQ_LOW;
  HAL_GPIO_Init(StepperDir_GPIO_Port, &GPIO_InitStruct);

  /*Configure GPIO pin : ThrottleCalibration_Pin */
  GPIO_InitStruct.Pin = ThrottleCalibration_Pin;
  GPIO_InitStruct.Mode = GPIO_MODE_INPUT;
  GPIO_InitStruct.Pull = GPIO_NOPULL;
  HAL_GPIO_Init(ThrottleCalibration_GPIO_Port, &GPIO_InitStruct);

  /*Configure GPIO pin : ClutchOut_Pin */
  GPIO_InitStruct.Pin = ClutchOut_Pin;
  GPIO_InitStruct.Mode = GPIO_MODE_OUTPUT_PP;
  GPIO_InitStruct.Pull = GPIO_NOPULL;
  GPIO_InitStruct.Speed = GPIO_SPEED_FREQ_LOW;
  HAL_GPIO_Init(ClutchOut_GPIO_Port, &GPIO_InitStruct);

  /*Configure GPIO pin : Gear2_Pin */
  GPIO_InitStruct.Pin = Gear2_Pin;
  GPIO_InitStruct.Mode = GPIO_MODE_INPUT;
  GPIO_InitStruct.Pull = GPIO_NOPULL;
  HAL_GPIO_Init(Gear2_GPIO_Port, &GPIO_InitStruct);

  /*Configure GPIO pin : Gear1_Pin */
  GPIO_InitStruct.Pin = Gear1_Pin;
  GPIO_InitStruct.Mode = GPIO_MODE_IT_RISING;
  GPIO_InitStruct.Pull = GPIO_NOPULL;
  HAL_GPIO_Init(Gear1_GPIO_Port, &GPIO_InitStruct);

}

/* USER CODE BEGIN 4 */

void HAL_UARTEx_RxEventCallback(UART_HandleTypeDef *huart, uint16_t Size) {

  if (huart->Instance == USART1) {
    switch (HAL_UARTEx_GetRxEventType(huart)) {
    case HAL_UART_RXEVENT_IDLE:
      ecu.pending_update = true;
      returnval = HAL_UARTEx_ReceiveToIdle_DMA(&huart1, rx_buf_usart1, USART1_RX_BUF_LEN);
      break;
    }
  }
}

void HAL_UART_ErrorCallback(UART_HandleTypeDef *huart) {
  if (huart->Instance == USART1) {
    uint8_t status = HAL_UARTEx_ReceiveToIdle_DMA(&huart1, rx_buf_usart1, USART1_RX_BUF_LEN);
    static const char *err_code[] = {"OK", "ERROR", "BUSY", "TIMEOUT"};
    sprintf(error_throw(), "USART1rx errored out, restarted with code: HAL_%s", err_code[status]);
  }
}

void HAL_ADC_ConvCpltCallback(ADC_HandleTypeDef *hadc) { HAL_ADC_Start_DMA(&hadc1, (uint32_t *)adc_buf, ADC_BUF_LEN); }

//////////////// S E N S O R S //////////////////

void ADC_update() { shifter.pending_samples++; }

void NAU_update() {
  static uint8_t counter = 0;
  static uint8_t idx = 0;

  counter++;

  if (counter > 2) {
    TIM2->CNT = 0;

    loadCell.buf[idx] = NAU_getReading();
    loadCell.pending_samples++;

    counter = 0;

    if (idx > LOADCELL_BUF_LEN - 2) {
      idx = 0;
    } else {
      idx++;
    }

    exec_time = TIM2->CNT;
  }
}

void ecu_update() {
  static uint8_t counter = 0;

  counter++;
  if (counter > 14) {
    counter = 0;
    HAL_UART_Transmit_DMA(&huart1, tx_buf_usart1, USART1_TX_BUF_LEN);
  }
}
void HAL_TIM_PWM_PulseFinishedCallback(TIM_HandleTypeDef *htim) {
  if (htim->Instance == TIM8) {
    HAL_TIM_PWM_Stop_DMA(&htim8, TIM_CHANNEL_3);
    led_data_sent = true;
  }
}

/* USER CODE END 4 */

void HAL_TIM_PeriodElapsedCallback(TIM_HandleTypeDef *htim)
{
  if (htim->Instance == TIM6)
  {
    HAL_IncTick();
  }
  /* USER CODE BEGIN Callback 1 */
  else {
    ADC_update();
    NAU_update();
    ecu_update();
    stim_ref_clk++;
  }

  /* USER CODE END Callback 1 */
}

void Error_Handler(void)
{
  __disable_irq();
  while (1) {
  }
}

#ifdef  USE_FULL_ASSERT
/**
  * @brief  Reports the name of the source file and the source line number
  *         where the assert_param error has occurred.
  * @param  file: pointer to the source file name
  * @param  line: assert_param error line source number
  * @retval None
  */
void assert_failed(uint8_t *file, uint32_t line)
{
  /* USER CODE BEGIN 6 */
  /* User can add his own implementation to report the file name and line
     number, ex: printf("Wrong parameters value: file %s on line %d\r\n", file,
     line) */
  /* USER CODE END 6 */
}
#endif /* USE_FULL_ASSERT */
